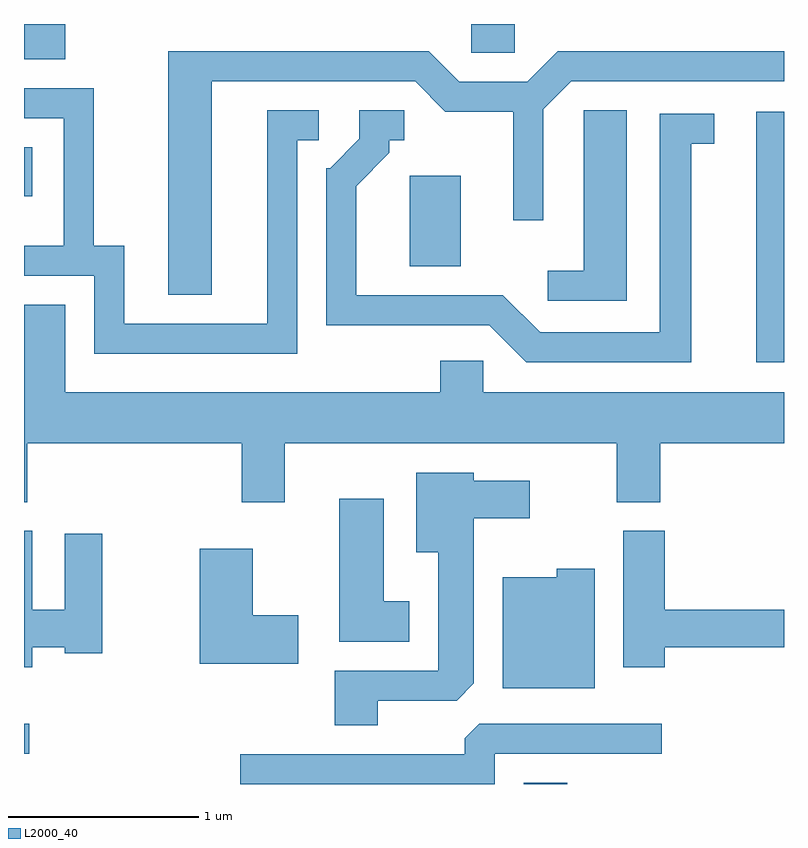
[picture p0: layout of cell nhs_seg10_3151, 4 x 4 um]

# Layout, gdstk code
import gdstk
lib = gdstk.Library(unit=1e-6, precision=1e-09)
def R(c, l, rs):  # rectangles x0, y0, x1, y1
    for r in rs: c.add(gdstk.rectangle(r[:2], r[2:], *l))
def P(c, l, *ps):  # polygons
    for p in ps: c.add(gdstk.Polygon(p, *l))
L2000_40 = (2000, 40)

nhs_seg10_3151 = lib.new_cell('nhs_seg10_3151')
R(nhs_seg10_3151, L2000_40, [(280.241,2156.522,280.469,2156.529), (277.611,2156.681,277.638,2156.839), (281.466,2158.741,281.611,2160.059), (279.641,2159.246,279.909,2159.724), (277.611,2159.616,277.654,2159.874), (277.611,2160.336,277.829,2160.522), (279.966,2160.371,280.194,2160.522)])
P(nhs_seg10_3151, L2000_40, [(278.599,2160.221),(279.669,2160.221),(279.829,2160.061),(280.186,2160.061),(280.186,2159.488),(280.344,2159.488),(280.344,2160.074),(280.492,2160.221),(281.611,2160.221),(281.611,2160.379),(280.419,2160.379),(280.259,2160.219),(279.902,2160.219),(279.742,2160.379),(278.371,2160.379),(278.371,2159.096),(278.599,2159.096)],
  [(279.049,2159.911),(279.163,2159.911),(279.163,2160.069),(278.891,2160.069),(278.891,2158.944),(278.139,2158.944),(278.139,2159.354),(277.979,2159.354),(277.979,2160.184),(277.611,2160.184),(277.611,2160.026),(277.821,2160.026),(277.821,2159.354),(277.611,2159.354),(277.611,2159.196),(277.981,2159.196),(277.981,2158.786),(279.049,2158.786)],
  [(280.784,2160.069),(280.556,2160.069),(280.556,2159.224),(280.368,2159.224),(280.368,2159.066),(280.784,2159.066)],
  [(281.124,2159.891),(281.243,2159.891),(281.243,2160.049),(280.956,2160.049),(280.956,2158.899),(280.327,2158.899),(280.132,2159.094),(279.359,2159.094),(279.359,2159.669),(279.534,2159.844),(279.534,2159.911),(279.613,2159.911),(279.613,2160.069),(279.376,2160.069),(279.376,2159.917),(279.224,2159.764),(279.201,2159.764),(279.201,2158.936),(280.059,2158.936),(280.254,2158.741),(281.124,2158.741)],
  [(277.629,2158.316),(278.756,2158.316),(278.756,2158.006),(278.984,2158.006),(278.984,2158.316),(280.731,2158.316),(280.731,2158.006),(280.959,2158.006),(280.959,2158.316),(281.611,2158.316),(281.611,2158.584),(280.029,2158.584),(280.029,2158.749),(279.801,2158.749),(279.801,2158.584),(277.829,2158.584),(277.829,2159.044),(277.611,2159.044),(277.611,2158.006),(277.629,2158.006)],
  [(279.474,2156.961),(279.889,2156.961),(279.979,2157.052),(279.979,2157.921),(280.274,2157.921),(280.274,2158.119),(279.979,2158.119),(279.979,2158.159),(279.676,2158.159),(279.676,2157.741),(279.791,2157.741),(279.791,2157.119),(279.246,2157.119),(279.246,2156.831),(279.474,2156.831)],
  [(279.639,2157.484),(279.504,2157.484),(279.504,2158.024),(279.271,2158.024),(279.271,2157.271),(279.639,2157.271)],
  [(280.984,2157.241),(281.611,2157.241),(281.611,2157.439),(280.984,2157.439),(280.984,2157.854),(280.766,2157.854),(280.766,2157.136),(280.984,2157.136)],
  [(277.654,2157.241),(277.826,2157.241),(277.826,2157.211),(278.024,2157.211),(278.024,2157.839),(277.826,2157.839),(277.826,2157.439),(277.654,2157.439),(277.654,2157.854),(277.611,2157.854),(277.611,2157.136),(277.654,2157.136)],
  [(279.054,2157.409),(278.814,2157.409),(278.814,2157.759),(278.536,2157.759),(278.536,2157.156),(279.054,2157.156)],
  [(280.614,2157.654),(280.416,2157.654),(280.416,2157.609),(280.131,2157.609),(280.131,2157.026),(280.614,2157.026)],
  [(280.089,2156.681),(280.968,2156.681),(280.968,2156.839),(280.007,2156.839),(279.931,2156.764),(279.931,2156.679),(278.748,2156.679),(278.748,2156.522),(280.089,2156.522)])

lib.write_gds('nhs_seg10_3151.gds')
